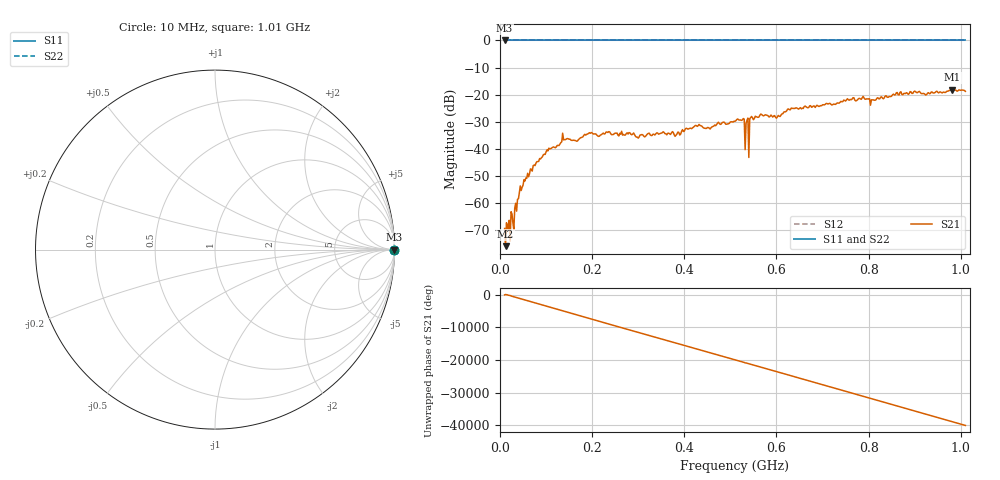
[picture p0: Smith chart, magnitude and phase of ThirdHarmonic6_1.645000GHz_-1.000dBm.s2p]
! 8/16/2025 7:41:20 PM
! C:\ANRITSUVNA\TEMP\TEMP.S2P
! CHANNEL.1
! TR.MEASUREMENT
! RAW.DATA
! RF.CORRECTION.OFF
! AVERAGING.OFF
! IF.BANDWIDTH: 5KHZ
! SWEEPTYPE:  FREQ.SWEEP(Linear)
! Reference Plane Port Info
! PORT:  PORT1  PORT2
! DISTANCE:  0  m  0  m
! TIME:  0  s  0  s
! PHASE.OFFSET:  0  deg.  0  deg.
! LOSS:  0  dB  0  dB
! REF.LOSS:  0  dB  0  dB
! REF.FREQ:  0  Hz  0  Hz
! Power Info
! POWER:  -20  dBm  -20  dBm
! EFF.POWER:  -20  dBm  -20  dBm
! SOURCE.ATTEN:  0  dB  0  dB
! TEST.ATTEN:  0  dB  0  dB
# GHZ S RI R 50.0
! FREQ.GHZ  S11RE  S11IM  S21RE  S21IM  S12RE  S12IM  S22RE  S22IM
!; PortSelection: Port_12
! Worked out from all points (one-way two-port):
!   501 points, 10 MHz to 1.01 GHz, reference 50 ohm
!   highest |S21| = -18.14 dB at 982 MHz (marker M1); lowest = -76.0 dB at 12 MHz (marker M2)
!   lowest |S11| = 0.0 dB at 10 MHz (marker M3)
!   |S11| at or under -10 dB: nowhere
!   |S22| runs from 0.0 to 0.0 dB; largest |S21 - S12| = 1.1
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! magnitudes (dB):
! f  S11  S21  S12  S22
! 10 MHz  0.0  -69.5  0.0  0.0
! 12 MHz  0.0  -76.0  0.0  0.0
! 26 MHz  0.0  -64.1  0.0  0.0
! 48 MHz  0.0  -54.3  0.0  0.0
! 76 MHz  0.0  -46.2  0.0  0.0
! 140 MHz  0.0  -36.7  0.0  0.0
! 178 MHz  0.0  -35.8  0.0  0.0
! 344 MHz  0.0  -34.6  0.0  0.0
! 382 MHz  0.0  -35.0  0.0  0.0
! 428 MHz  0.0  -31.7  0.0  0.0
! 510 MHz  0.0  -29.9  0.0  0.0
! 526 MHz  0.0  -29.3  0.0  0.0
! 528 MHz  0.0  -28.8  0.0  0.0
! 534 MHz  0.0  -30.6  0.0  0.0
! 536 MHz  0.0  -29.5  0.0  0.0
! 538 MHz  0.0  -28.7  0.0  0.0
! 544 MHz  0.0  -28.5  0.0  0.0
! 546 MHz  0.0  -28.1  0.0  0.0
! 678 MHz  0.0  -24.6  0.0  0.0
! 844 MHz  0.0  -20.8  0.0  0.0
! 982 MHz  0.0  -18.1  0.0  0.0
! 1.01 GHz  0.0  -18.8  0.0  0.0
